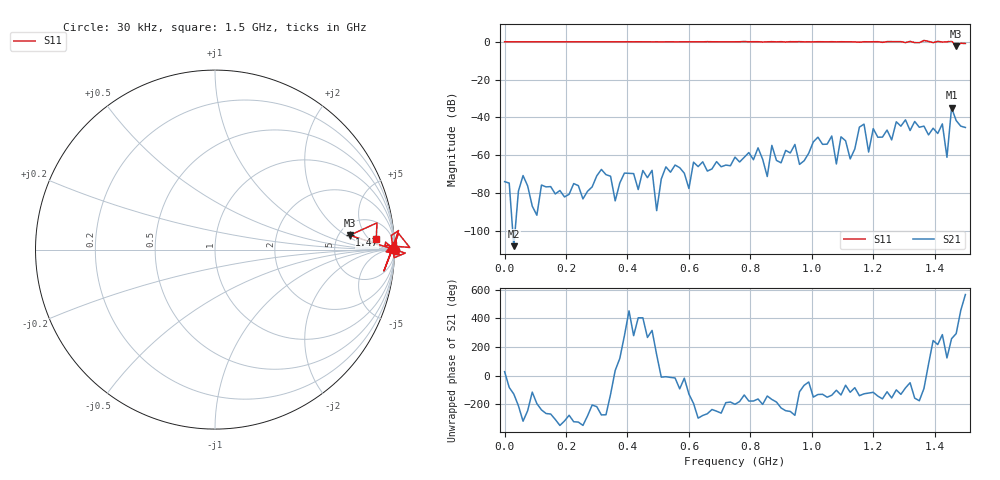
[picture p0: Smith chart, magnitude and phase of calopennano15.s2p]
# HZ S RI R 50
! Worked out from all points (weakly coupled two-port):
!   101 points, 30 kHz to 1.5 GHz, reference 50 ohm
!   highest |S21| = -34.91 dB at 1.455 GHz (marker M1); lowest = -108.1 dB at 30.03 MHz (marker M2)
!   lowest |S11| = -2.4 dB at 1.47 GHz (marker M3), VSWR 7.15, Z = 313 + j116 ohm
!   |S11| at or under -10 dB: nowhere
!   S12 and S22 are empty: the file has one direction only
!   S11 on the Smith chart (normalised r, x): 30 kHz: open; 1.47 GHz: 6.27, +2.32; 1.5 GHz: 14, +9
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30000  1.005 -0.00116  0.000178 9.17e-05  0 0  0 0
3.00294e7  1.001 -0.000129  -2.54e-06 -3.01e-06  0 0  0 0
2.550249e8  1 3.23e-05  6.89e-05 1.23e-05  0 0  0 0
5.100198e8  0.997 -0.00324  0.000231 -4.7e-05  0 0  0 0
7.50015e8  1.001 5.46e-05  -0.000826 0.000331  0 0  0 0
8.250135e8  1.005 0.00282  -0.00151 -0.000417  0 0  0 0
8.550129e8  0.9981 0.0102  -0.000221 -0.000162  0 0  0 0
8.700126e8  1.009 -0.00232  -0.00178 -0.000384  0 0  0 0
9.600108e8  1.01 -0.00192  -0.000233 -0.000523  0 0  0 0
1.00501e9  0.9967 -0.00323  -0.00198 -0.00109  0 0  0 0
1.065009e9  1.006 -0.00355  -0.0024 -0.00215  0 0  0 0
1.080008e9  0.9967 -0.00456  -0.000136 -0.000571  0 0  0 0
1.095008e9  1.004 -0.00143  -0.00222 -0.00211  0 0  0 0
1.170007e9  1.004 -0.00392  -0.00412 -0.00522  0 0  0 0
1.185006e9  0.9994 0.0034  -0.000664 -0.00102  0 0  0 0
1.200006e9  1.003 -0.0274  -0.00236 -0.00446  0 0  0 0
1.260005e9  1.011 -0.000677  -0.00235 -0.000973  0 0  0 0
1.425002e9  0.9822 0.0782  0.00195 -0.00646  0 0  0 0
1.440001e9  0.998 -0.0453  -0.000483 0.000736  0 0  0 0
1.455001e9  1.06 -0.0194  -0.00358 -0.0176  0 0  0 0
1.470001e9  0.7503 0.0797  0.00333 -0.00756  0 0  0 0
1.5e9  0.8986 0.0593  -0.00479 -0.00253  0 0  0 0
